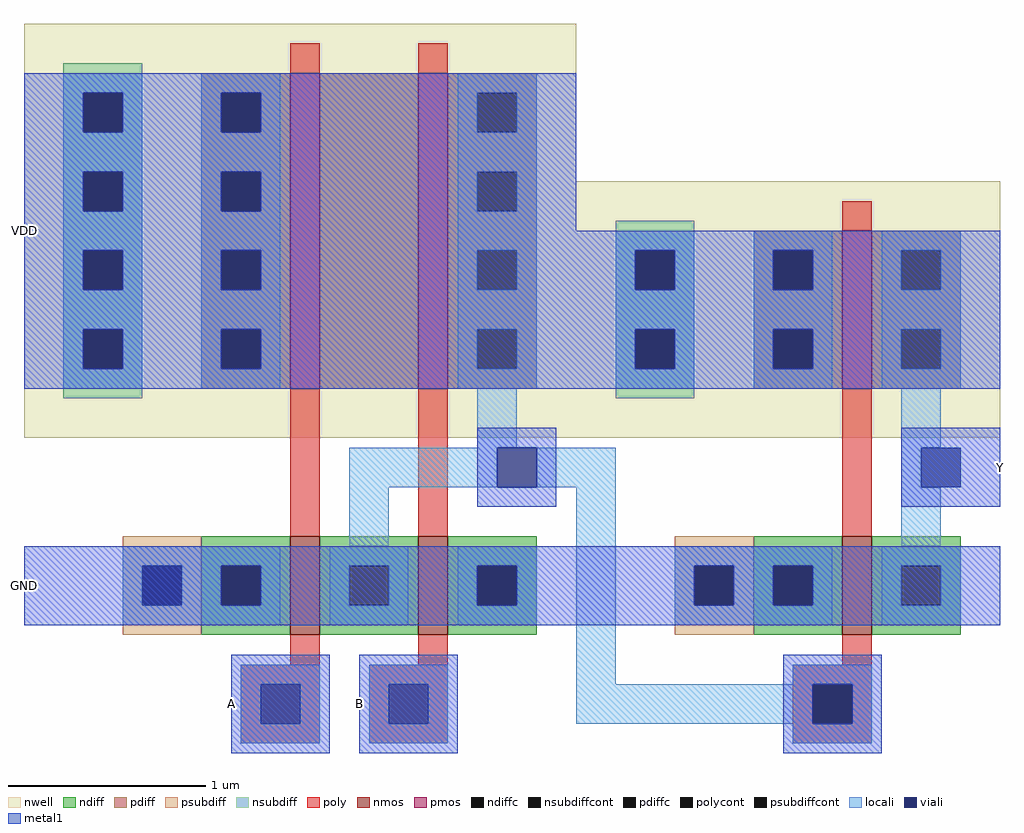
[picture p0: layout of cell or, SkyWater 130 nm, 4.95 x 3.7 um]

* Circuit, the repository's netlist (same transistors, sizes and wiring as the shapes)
* SPICE3 file created from or.ext - technology: sky130A

.subckt inverter1 GND Y A w_n140_80#
X0 Y A GND GND sky130_fd_pr__nfet_01v8 ad=0.225 pd=1.9 as=0.225 ps=1.9 w=0.5 l=0.15
X1 Y A w_n140_80# w_n140_80# sky130_fd_pr__pfet_01v8 ad=0.36 pd=2.5 as=0.36 ps=2.5 w=0.8 l=0.15
.ends

.subckt nor VDD GND A B Y
X0 a_5_80# a_n35_n100# VDD VDD sky130_fd_pr__pfet_01v8 ad=0.4 pd=2.1 as=0.72 ps=4.1 w=1.6 l=0.15
X1 Y a_n35_n100# GND GND sky130_fd_pr__nfet_01v8 ad=0.125 pd=1 as=0.225 ps=1.9 w=0.5 l=0.15
X2 GND a_30_n100# Y GND sky130_fd_pr__nfet_01v8 ad=0.225 pd=1.9 as=0.125 ps=1 w=0.5 l=0.15
X3 Y a_30_n100# a_5_80# VDD sky130_fd_pr__pfet_01v8 ad=0.72 pd=4.1 as=0.4 ps=2.1 w=1.6 l=0.15
.ends

*.subckt or
Xinverter1_0 SUB inverter1_0/Y nor_0/Y nor_0/VDD inverter1
Xnor_0 nor_0/VDD SUB nor_0/A nor_0/B nor_0/Y nor
*.ends

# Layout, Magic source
magic
tech sky130A
<< locali >>
rect 210 105 250 125
rect 230 5 250 105
rect 230 -15 340 5
<< metal1 >>
rect -50 155 -30 315
rect 395 95 445 135
rect -50 35 40 75
rect 55 -30 105 20
rect 120 -30 170 20
use inverter1  inverter1_0
transform 1 0 370 0 1 50
box -140 -80 75 210
use nor  nor_0
transform 1 0 95 0 1 75
box -145 -105 135 265
<< labels >>
rlabel metal1 -50 55 -50 55 7 GND
port 2 w
rlabel metal1 55 -5 55 -5 7 A
port 3 w
rlabel metal1 120 -5 120 -5 7 B
port 4 w
rlabel metal1 -50 235 -50 235 7 VDD
port 1 w
rlabel metal1 445 115 445 115 3 Y
port 5 e
<< end >>

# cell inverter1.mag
magic
tech sky130A
<< nwell >>
rect -140 80 75 210
<< nmos >>
rect -5 -20 10 30
<< pmos >>
rect -5 105 10 185
<< ndiff >>
rect -50 15 -5 30
rect -50 -5 -40 15
rect -20 -5 -5 15
rect -50 -20 -5 -5
rect 10 15 55 30
rect 10 -5 25 15
rect 45 -5 55 15
rect 10 -20 55 -5
<< pdiff >>
rect -50 175 -5 185
rect -50 155 -40 175
rect -20 155 -5 175
rect -50 135 -5 155
rect -50 115 -40 135
rect -20 115 -5 135
rect -50 105 -5 115
rect 10 175 55 185
rect 10 155 25 175
rect 45 155 55 175
rect 10 135 55 155
rect 10 115 25 135
rect 45 115 55 135
rect 10 105 55 115
<< ndiffc >>
rect -40 -5 -20 15
rect 25 -5 45 15
<< pdiffc >>
rect -40 155 -20 175
rect -40 115 -20 135
rect 25 155 45 175
rect 25 115 45 135
<< psubdiff >>
rect -90 15 -50 30
rect -90 -5 -80 15
rect -60 -5 -50 15
rect -90 -20 -50 -5
<< nsubdiff >>
rect -120 175 -80 190
rect -120 155 -110 175
rect -90 155 -80 175
rect -120 135 -80 155
rect -120 115 -110 135
rect -90 115 -80 135
rect -120 100 -80 115
<< psubdiffcont >>
rect -80 -5 -60 15
<< nsubdiffcont >>
rect -110 155 -90 175
rect -110 115 -90 135
<< poly >>
rect -5 185 10 200
rect -5 30 10 105
rect -5 -35 10 -20
rect -30 -45 10 -35
rect -30 -65 -20 -45
rect 0 -65 10 -45
rect -30 -75 10 -65
<< polycont >>
rect -20 -65 0 -45
<< locali >>
rect -120 175 -80 185
rect -120 155 -110 175
rect -90 155 -80 175
rect -120 135 -80 155
rect -120 115 -110 135
rect -90 115 -80 135
rect -120 105 -80 115
rect -50 175 -10 185
rect -50 155 -40 175
rect -20 155 -10 175
rect -50 135 -10 155
rect -50 115 -40 135
rect -20 115 -10 135
rect -50 105 -10 115
rect 15 175 55 185
rect 15 155 25 175
rect 45 155 55 175
rect 15 135 55 155
rect 15 115 25 135
rect 45 115 55 135
rect 15 105 55 115
rect 25 75 45 105
rect 25 55 35 75
rect 25 25 45 55
rect -90 15 -10 25
rect -90 -5 -80 15
rect -60 -5 -40 15
rect -20 -5 -10 15
rect -90 -15 -10 -5
rect 15 15 55 25
rect 15 -5 25 15
rect 45 -5 55 15
rect 15 -15 55 -5
rect -30 -45 10 -35
rect -30 -65 -20 -45
rect 0 -65 10 -45
rect -30 -75 10 -65
<< viali >>
rect -110 155 -90 175
rect -110 115 -90 135
rect -40 155 -20 175
rect -40 115 -20 135
rect 35 55 55 75
rect -80 -5 -60 15
rect -40 -5 -20 15
rect -20 -65 0 -45
<< metal1 >>
rect -140 175 75 185
rect -140 155 -110 175
rect -90 155 -40 175
rect -20 155 75 175
rect -140 135 75 155
rect -140 115 -110 135
rect -90 115 -40 135
rect -20 115 75 135
rect -140 105 75 115
rect 25 75 65 85
rect 25 55 35 75
rect 55 55 65 75
rect 25 45 65 55
rect -140 15 75 25
rect -140 -5 -80 15
rect -60 -5 -40 15
rect -20 -5 75 15
rect -140 -15 75 -5
rect -35 -45 15 -30
rect -35 -65 -20 -45
rect 0 -65 15 -45
rect -35 -80 15 -65
<< labels >>
rlabel metal1 -140 5 -140 5 7 GND
port 2 w
rlabel metal1 65 65 65 65 3 Y
port 3 e
rlabel metal1 -35 -55 -35 -55 7 A
port 4 w
rlabel metal1 -140 150 -140 150 7 VDD
port 1 w
<< end >>

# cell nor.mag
magic
tech sky130A
<< nwell >>
rect -145 55 135 265
<< nmos >>
rect -10 -45 5 5
rect 55 -45 70 5
<< pmos >>
rect -10 80 5 240
rect 55 80 70 240
<< ndiff >>
rect -55 -10 -10 5
rect -55 -30 -45 -10
rect -25 -30 -10 -10
rect -55 -45 -10 -30
rect 5 -10 55 5
rect 5 -30 20 -10
rect 40 -30 55 -10
rect 5 -45 55 -30
rect 70 -10 115 5
rect 70 -30 85 -10
rect 105 -30 115 -10
rect 70 -45 115 -30
<< pdiff >>
rect -55 230 -10 240
rect -55 210 -45 230
rect -25 210 -10 230
rect -55 190 -10 210
rect -55 170 -45 190
rect -25 170 -10 190
rect -55 150 -10 170
rect -55 130 -45 150
rect -25 130 -10 150
rect -55 110 -10 130
rect -55 90 -45 110
rect -25 90 -10 110
rect -55 80 -10 90
rect 5 80 55 240
rect 70 230 115 240
rect 70 210 85 230
rect 105 210 115 230
rect 70 190 115 210
rect 70 170 85 190
rect 105 170 115 190
rect 70 150 115 170
rect 70 130 85 150
rect 105 130 115 150
rect 70 110 115 130
rect 70 90 85 110
rect 105 90 115 110
rect 70 80 115 90
<< ndiffc >>
rect -45 -30 -25 -10
rect 20 -30 40 -10
rect 85 -30 105 -10
<< pdiffc >>
rect -45 210 -25 230
rect -45 170 -25 190
rect -45 130 -25 150
rect -45 90 -25 110
rect 85 210 105 230
rect 85 170 105 190
rect 85 130 105 150
rect 85 90 105 110
<< psubdiff >>
rect -95 -10 -55 5
rect -95 -30 -85 -10
rect -65 -30 -55 -10
rect -95 -45 -55 -30
<< nsubdiff >>
rect -125 230 -85 245
rect -125 210 -115 230
rect -95 210 -85 230
rect -125 190 -85 210
rect -125 170 -115 190
rect -95 170 -85 190
rect -125 150 -85 170
rect -125 130 -115 150
rect -95 130 -85 150
rect -125 110 -85 130
rect -125 90 -115 110
rect -95 90 -85 110
rect -125 75 -85 90
<< psubdiffcont >>
rect -85 -30 -65 -10
<< nsubdiffcont >>
rect -115 210 -95 230
rect -115 170 -95 190
rect -115 130 -95 150
rect -115 90 -95 110
<< poly >>
rect -10 240 5 255
rect 55 240 70 255
rect -10 5 5 80
rect 55 5 70 80
rect -10 -60 5 -45
rect 55 -60 70 -45
rect -35 -100 5 -60
rect 30 -100 70 -60
<< locali >>
rect -125 230 -85 240
rect -125 210 -115 230
rect -95 210 -85 230
rect -125 190 -85 210
rect -125 170 -115 190
rect -95 170 -85 190
rect -125 150 -85 170
rect -125 130 -115 150
rect -95 130 -85 150
rect -125 110 -85 130
rect -125 90 -115 110
rect -95 90 -85 110
rect -125 80 -85 90
rect -55 230 -15 240
rect -55 210 -45 230
rect -25 210 -15 230
rect -55 190 -15 210
rect -55 170 -45 190
rect -25 170 -15 190
rect -55 150 -15 170
rect -55 130 -45 150
rect -25 130 -15 150
rect -55 110 -15 130
rect -55 90 -45 110
rect -25 90 -15 110
rect -55 80 -15 90
rect 75 230 115 240
rect 75 210 85 230
rect 105 210 115 230
rect 75 190 115 210
rect 75 170 85 190
rect 105 170 115 190
rect 75 150 115 170
rect 75 130 85 150
rect 105 130 115 150
rect 75 110 115 130
rect 75 90 85 110
rect 105 90 115 110
rect 75 80 115 90
rect 85 50 105 80
rect 20 30 95 50
rect 20 0 40 30
rect -95 -10 -15 0
rect -95 -30 -85 -10
rect -65 -30 -45 -10
rect -25 -30 -15 -10
rect -95 -40 -15 -30
rect 10 -10 50 0
rect 10 -30 20 -10
rect 40 -30 50 -10
rect 10 -40 50 -30
rect 75 -10 115 0
rect 75 -30 85 -10
rect 105 -30 115 -10
rect 75 -40 115 -30
rect -35 -70 5 -60
rect -35 -90 -25 -70
rect -5 -90 5 -70
rect -35 -100 5 -90
rect 30 -70 70 -60
rect 30 -90 40 -70
rect 60 -90 70 -70
rect 30 -100 70 -90
<< viali >>
rect -115 210 -95 230
rect -115 170 -95 190
rect -115 130 -95 150
rect -115 90 -95 110
rect -45 210 -25 230
rect -45 170 -25 190
rect -45 130 -25 150
rect -45 90 -25 110
rect 95 30 115 50
rect -85 -30 -65 -10
rect -45 -30 -25 -10
rect 85 -30 105 -10
rect -25 -90 -5 -70
rect 40 -90 60 -70
<< metal1 >>
rect -145 230 135 240
rect -145 210 -115 230
rect -95 210 -45 230
rect -25 210 135 230
rect -145 190 135 210
rect -145 170 -115 190
rect -95 170 -45 190
rect -25 170 135 190
rect -145 150 135 170
rect -145 130 -115 150
rect -95 130 -45 150
rect -25 130 135 150
rect -145 110 135 130
rect -145 90 -115 110
rect -95 90 -45 110
rect -25 90 135 110
rect -145 80 135 90
rect 85 50 125 60
rect 85 30 95 50
rect 115 30 125 50
rect 85 20 125 30
rect -145 -10 135 0
rect -145 -30 -85 -10
rect -65 -30 -45 -10
rect -25 -30 85 -10
rect 105 -30 135 -10
rect -145 -40 135 -30
rect -40 -70 10 -55
rect -40 -90 -25 -70
rect -5 -90 10 -70
rect -40 -105 10 -90
rect 25 -70 75 -55
rect 25 -90 40 -70
rect 60 -90 75 -70
rect 25 -105 75 -90
<< labels >>
rlabel metal1 -145 160 -145 160 7 VDD
port 1 w
rlabel metal1 -145 -20 -145 -20 7 GND
port 2 w
rlabel metal1 -40 -80 -40 -80 7 A
port 3 w
rlabel metal1 25 -80 25 -80 7 B
port 4 w
rlabel metal1 125 40 125 40 7 Y
port 5 w
<< end >>
